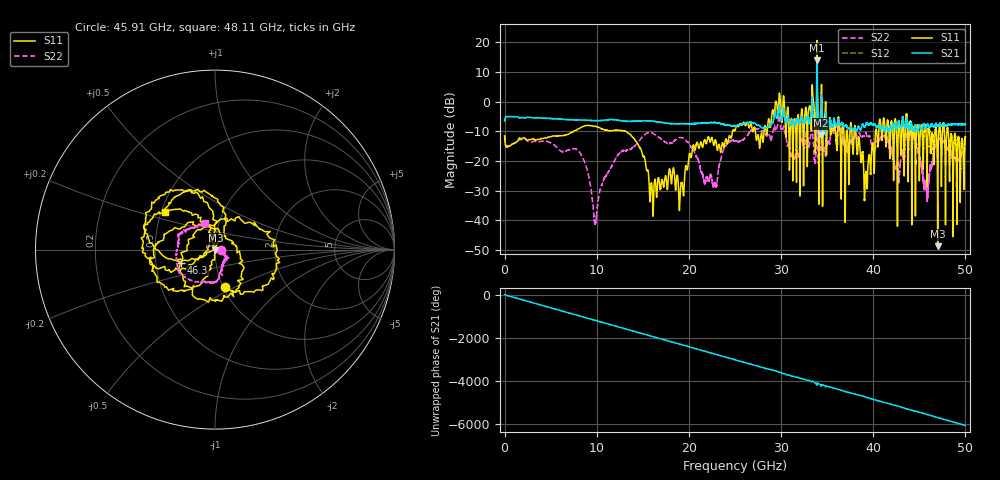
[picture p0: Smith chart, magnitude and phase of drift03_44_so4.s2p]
!Created with skrf (http://scikit-rf.org).
# Hz S RI R 50.0
!freq ReS11 ImS11 ReS21 ImS21 ReS12 ImS12 ReS22 ImS22
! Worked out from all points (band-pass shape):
!   10001 points, 300 kHz to 50 GHz, reference 50 ohm
!   highest |S21| = 13.97 dB at 33.9 GHz (marker M1); lowest = -11.4 dB at 34.32 GHz (marker M2)
!   |S21| within 3 dB of the highest: 33.8909 GHz to 33.90364 GHz (12.74 MHz wide, 0.0376 % of centre)
!   lowest |S11| = -48.8 dB at 46.99 GHz (marker M3), VSWR 1.01, Z = 50.2 - j0.316 ohm
!   |S11| at or under -10 dB: start of sweep to 7.487 GHz; 13.13 GHz to 24.74 GHz (11.62 GHz wide, 61.3 % of centre); 38.09 GHz to 40.26 GHz (2.164 GHz wide, 5.52 % of centre) (the widest 3 of 51)
!   |S22| runs from -41.3 to 6.4 dB; largest |S21 - S12| = 0.36
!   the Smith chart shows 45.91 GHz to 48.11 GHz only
!   S11 on the Smith chart (normalised r, x): 45.91 GHz: 1.01, -0.45; 46.3 GHz: 0.67, -0.10; 48.11 GHz: 0.52, +0.25
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300000  -0.2364 -0.1176  0.467 0.0766  0.4657 0.078  -0.2363 -0.1237
1.440291e9  0.2099 0.0648  -0.5481 -0.0296  -0.548 -0.0292  0.2111 -0.00414
2.915283e9  -0.2119 -0.0879  0.5341 0.0516  0.5344 0.0518  -0.2021 0.04
4.415274e9  0.206 0.1323  -0.5223 -0.0426  -0.5219 -0.042  0.1982 -0.0871
8.33525e9  0.2886 -0.2334  0.1463 0.4658  0.1458 0.4665  -0.0727 -0.1012
9.845241e9  -0.3637 0.1288  -0.1481 -0.4525  -0.1484 -0.4523  0.0084 0.0021
1.115523e10  0.3177 0.0831  -0.0446 0.4904  -0.0441 0.4911  -0.0476 0.038
1.66702e10  0.0271 0.0441  -0.3785 0.2525  -0.3788 0.2533  -0.1274 -0.2198
2.500015e10  -0.3255 -0.0151  -0.2547 -0.297  -0.2539 -0.2991  -0.2129 0.0268
2.895013e10  -0.3209 0.4209  -0.2931 0.3234  -0.3041 0.2871  0.0616 0.2193
3.006512e10  0.4013 0.266  0.4504 -0.1955  0.4522 -0.1809  0.1744 -0.2982
3.171011e10  -0.0926 0.1857  -0.3636 0.3572  -0.3619 0.3549  0.0654 0.1584
3.33351e10  0.6467 -0.8272  0.2544 -0.8546  0.2554 -0.8322  -0.1911 -0.4243
3.38951e10  -2.473 -10.48  -4.927 0.8061  -4.643 1.025  0.5233 2.029
3.432009e10  -0.7788 -0.00141  -0.1809 0.1991  -0.2421 0.1786  0.1432 -0.0721
3.919506e10  0.0622 0.0135  0.2022 -0.3585  0.2074 -0.3514  -0.2707 -0.1208
4.167005e10  -0.2021 0.3027  0.3157 0.00363  0.3159 0.0103  -0.1925 -0.00602
4.590502e10  0.0537 -0.2111  -0.3575 -0.2241  -0.3583 -0.2229  0.0313 -0.00247
4.630002e10  -0.1897 -0.0721  -0.3909 0.1491  -0.3933 0.1424  0.0576 -0.0496
4.699002e10  0.00181 -0.00315  0.0956 0.3724  0.0951 0.3721  -0.1269 -0.1741
4.810501e10  -0.2802 0.2089  0.2042 -0.3542  0.205 -0.3533  -0.0567 0.1492
5e10  -0.1194 -0.2247  0.1406 0.3873  0.141 0.3867  -0.0524 -0.1447
